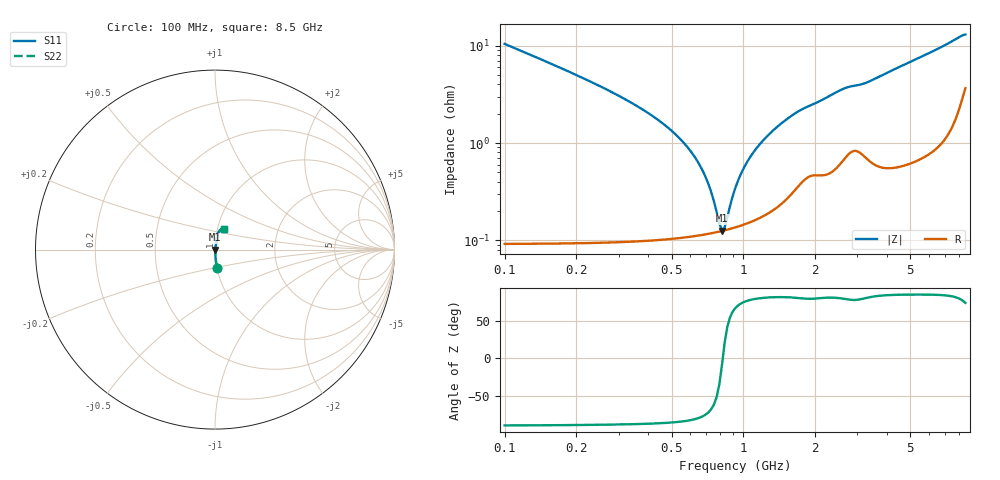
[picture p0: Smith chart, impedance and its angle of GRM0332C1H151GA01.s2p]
!Murata Part Number: GRM0332C1H151GA01
!These Parameters are Measured in Series Mode Connection
!Data Generated on Mar 30, 2021
!  o--ll--o
!Port1  Port2
!  o------o
!Operation Temp=25[degC], DC Bias Voltage=0[V]
!Freq. Start=100[MHz] Stop=9[GHz] 401[Steps]
# Hz S RI R 50
!Freq.(Hz) S11(Real) S11(Imag) S21(Real) S21(Imag) S12(Real) S12(Imag) S22(Real) S22(Imag)
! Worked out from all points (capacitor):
!   401 points, 100 MHz to 8.5 GHz, reference 50 ohm
!   read as one part in series: C = 150 pF near 142 MHz
!   lowest |Z| = 126 mohm at 814 MHz (marker M1)
!   series resonance near 819.2 MHz, so ESL is about 250 pH
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1e8  0.0117 -0.1032  0.9883 0.1032  0.9883 0.1032  0.0117 -0.1032
2.47e8  0.00246 -0.0389  0.9975 0.0389  0.9975 0.0389  0.00246 -0.0389
5.2e8  0.00119 -0.0122  0.9988 0.0122  0.9988 0.0122  0.00119 -0.0122
6.04e8  0.00115 -0.00802  0.9988 0.00802  0.9988 0.00802  0.00115 -0.00802
6.88e8  0.00116 -0.00455  0.9988 0.00455  0.9988 0.00455  0.00116 -0.00455
7.72e8  0.00121 -0.00154  0.9988 0.00154  0.9988 0.00154  0.00121 -0.00154
7.93e8  0.00123 -0.000844  0.9988 0.000844  0.9988 0.000844  0.00123 -0.000844
8.14e8  0.00124 -0.000165  0.9988 0.000165  0.9988 0.000165  0.00124 -0.000165
8.35e8  0.00126 0.000497  0.9987 -0.000497  0.9987 -0.000497  0.00126 0.000497
8.56e8  0.00128 0.00114  0.9987 -0.00114  0.9987 -0.00114  0.00128 0.00114
9.19e8  0.00136 0.003  0.9986 -0.003  0.9986 -0.003  0.00136 0.003
9.61e8  0.00141 0.00418  0.9986 -0.00418  0.9986 -0.00418  0.00141 0.00418
1.066e9  0.00158 0.00695  0.9984 -0.00695  0.9984 -0.00695  0.00158 0.00695
1.255e9  0.00199 0.0115  0.998 -0.0115  0.998 -0.0115  0.00199 0.0115
1.507e9  0.00289 0.017  0.9971 -0.017  0.9971 -0.017  0.00289 0.017
1.78e9  0.00453 0.022  0.9955 -0.022  0.9955 -0.022  0.00453 0.022
2.347e9  0.00596 0.0307  0.994 -0.0307  0.994 -0.0307  0.00596 0.0307
2.914e9  0.00962 0.0372  0.9904 -0.0372  0.9904 -0.0372  0.00962 0.0372
4.3e9  0.00874 0.0564  0.9913 -0.0564  0.9913 -0.0564  0.00874 0.0564
5.707e9  0.0132 0.0776  0.9868 -0.0776  0.9868 -0.0776  0.0132 0.0776
7.114e9  0.0217 0.0999  0.9783 -0.0999  0.9783 -0.0999  0.0217 0.0999
8.5e9  0.0492 0.1149  0.9508 -0.1149  0.9508 -0.1149  0.0492 0.1149
